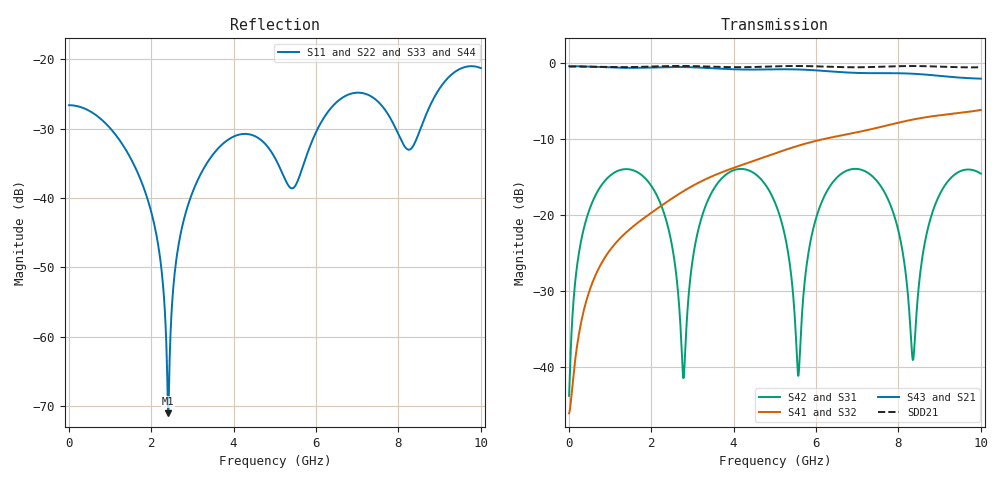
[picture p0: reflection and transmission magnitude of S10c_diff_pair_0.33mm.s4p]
! kicad_em_sim: S-parameters of 4 ports, openEMS
# Hz S RI R 50
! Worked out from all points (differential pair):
!   1000 points, 10 MHz to 10 GHz, reference 50 ohm
!   strongest paths, dB at 10 MHz, 2.51 GHz, 5.01 GHz, 7.51 GHz, 10 GHz:
!     S43: -0.4, -0.5, -0.8, -1.3, -2.1
!     S21: -0.4, -0.5, -0.8, -1.3, -2.1
!     S41: -46.1, -17.8, -11.9, -8.5, -6.2
!     S32: -46.1, -17.8, -11.9, -8.5, -6.2
!     S42: -43.8, -24.1, -18.4, -15.7, -14.6
!     S31: -43.8, -24.1, -18.4, -15.7, -14.6
!   taken as a pair (ports 3,1 in; 4,2 out), SDD21 dB: -0.5, -0.4, -0.4, -0.5, -0.6
!   lowest |S11| = -71.1 dB at 2.41 GHz (marker M1), VSWR 1.00, Z = 50 + j0.00732 ohm
!   |S11| at or under -10 dB: start of sweep to end of sweep
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1e7  -0.0466 0.000721  0.9522 -0.011  0.00608 0.00222  0.00492 -0.000703
     0.9522 -0.011  -0.0466 0.000721  0.00492 -0.000703  0.00608 0.00222
     0.00608 0.00222  0.00492 -0.000703  -0.0466 0.000721  0.9522 -0.011
     0.00492 -0.000703  0.00608 0.00222  0.9522 -0.011  -0.0466 0.000721
2.41e9  0.00027 7.31e-05  -0.8545 -0.3892  0.0403 -0.0728  -0.0453 0.1149
        -0.8545 -0.3892  0.00027 7.31e-05  -0.0453 0.1149  0.0403 -0.0728
        0.0403 -0.0728  -0.0453 0.1149  0.00027 7.3e-05  -0.8545 -0.3892
        -0.0453 0.1149  0.0403 -0.0728  -0.8545 -0.3892  0.00027 7.31e-05
2.79e9  0.00164 0.0067  -0.9394 0.00943  0.00843 0.0011  0.00607 0.1437
        -0.9394 0.00943  0.00164 0.0067  0.00607 0.1437  0.00843 0.0011
        0.00843 0.00109  0.00607 0.1437  0.00164 0.0067  -0.9394 0.00943
        0.00607 0.1437  0.00843 0.00109  -0.9394 0.00943  0.00164 0.0067
3.4e9  0.0182 0.00406  -0.7022 0.603  0.0894 0.0931  0.1181 0.1304
       -0.7022 0.603  0.0182 0.00406  0.1181 0.1304  0.0894 0.0931
       0.0894 0.0931  0.1181 0.1304  0.0182 0.00406  -0.7022 0.603
       0.1181 0.1304  0.0894 0.0931  -0.7022 0.603  0.0182 0.00406
5.43e9  -0.00626 0.0099  0.8975 0.1358  0.0127 -0.0306  0.0363 -0.2756
        0.8975 0.1358  -0.00626 0.0099  0.0363 -0.2756  0.0127 -0.0306
        0.0127 -0.0306  0.0363 -0.2756  -0.00626 0.0099  0.8975 0.1358
        0.0363 -0.2756  0.0127 -0.0306  0.8975 0.1358  -0.00626 0.0099
8.19e9  -0.0142 0.0177  -0.8414 -0.1401  0.0159 -0.0349  -0.0629 0.4109
        -0.8414 -0.1401  -0.0142 0.0177  -0.0629 0.4109  0.0159 -0.0349
        0.0159 -0.0349  -0.0629 0.4109  -0.0142 0.0177  -0.8414 -0.1401
        -0.0629 0.4109  0.0159 -0.0349  -0.8414 -0.1401  -0.0142 0.0177
1e10  -0.0244 -0.0827  0.2436 0.7496  0.1754 -0.0648  0.4638 -0.1604
      0.2436 0.7496  -0.0244 -0.0827  0.4638 -0.1604  0.1754 -0.0648
      0.1754 -0.0648  0.4638 -0.1604  -0.0244 -0.0827  0.2436 0.7496
      0.4638 -0.1604  0.1754 -0.0648  0.2436 0.7496  -0.0244 -0.0827
